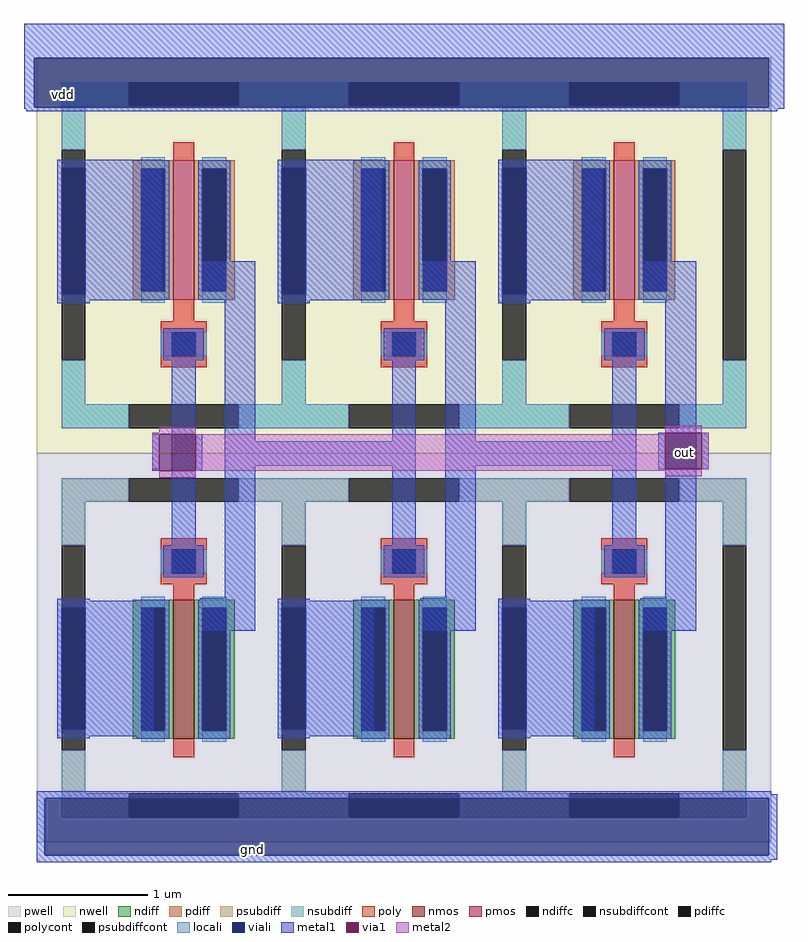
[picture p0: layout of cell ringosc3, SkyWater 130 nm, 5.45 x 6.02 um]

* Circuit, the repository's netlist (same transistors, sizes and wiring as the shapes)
** sch_path: /home/afgar/ringoscilator/ringosc3.sch
.subckt ringosc3 vdd out gnd
*.PININFO vdd:B gnd:B out:O
x4 vdd out net2 gnd prainverter
x1 vdd net2 net1 gnd prainverter
x2 vdd net1 out gnd prainverter
.ends

* expanding   symbol:  /home/afgar/prainverter.sym # of pins=4
** sym_path: /home/afgar/prainverter.sym
** sch_path: /home/afgar/prainverter.sch
.subckt prainverter vdd in out gnd
*.PININFO in:I vdd:I gnd:I out:O
XM1 out in gnd gnd sky130_fd_pr__nfet_01v8 L=0.15 W=1 nf=1 m=1
XM2 out in vdd vdd sky130_fd_pr__pfet_01v8 L=0.15 W=1 nf=1 m=1
.ends

.end

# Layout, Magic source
magic
tech sky130A
magscale 1 2
<< viali >>
rect -3 -1158 1050 -1088
rect 12 -2231 1050 -2149
<< metal1 >>
rect -18 -1088 1072 -1038
rect -18 -1158 -3 -1088
rect 1050 -1158 1072 -1088
rect -18 -1160 1072 -1158
rect -15 -1164 1062 -1160
rect 166 -1679 176 -1627
rect 228 -1679 238 -1627
rect 314 -1672 510 -1637
rect 630 -1672 826 -1637
rect 892 -1677 902 -1625
rect 954 -1677 964 -1625
rect 0 -2143 1054 -2139
rect 0 -2149 1062 -2143
rect 0 -2231 12 -2149
rect 1050 -2231 1062 -2149
rect 0 -2237 1062 -2231
rect 0 -2241 1054 -2237
<< via1 >>
rect 176 -1679 228 -1627
rect 902 -1677 954 -1625
<< metal2 >>
rect 176 -1625 228 -1617
rect 166 -1627 228 -1625
rect 902 -1625 954 -1615
rect 166 -1677 176 -1627
rect 228 -1677 902 -1627
rect 954 -1677 964 -1625
rect 228 -1679 954 -1677
rect 176 -1689 228 -1679
rect 902 -1687 954 -1679
use inverterspice  x1
transform 1 0 -1146 0 1 -2585
box 1146 373 1568 1499
use inverterspice  x2
transform 1 0 -830 0 1 -2585
box 1146 373 1568 1499
use inverterspice  x3
transform 1 0 -514 0 1 -2585
box 1146 373 1568 1499
<< labels >>
flabel viali 39 -1139 39 -1139 0 FreeSans 320 0 0 0 vdd
port 0 nsew
flabel viali 309 -2222 309 -2222 0 FreeSans 320 0 0 0 gnd
port 1 nsew
flabel via1 930 -1653 930 -1653 0 FreeSans 320 0 0 0 out
port 2 nsew
<< end >>

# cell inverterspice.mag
magic
tech sky130A
magscale 1 2
<< viali >>
rect 1182 1158 1216 1340
rect 1182 534 1216 710
<< metal1 >>
rect 1176 1340 1326 1352
rect 1176 1158 1182 1340
rect 1216 1158 1326 1340
rect 1176 1150 1326 1158
rect 1378 1153 1460 1206
rect 1176 1146 1222 1150
rect 1340 760 1374 1108
rect 1416 723 1460 1153
rect 1176 719 1222 722
rect 1176 710 1314 719
rect 1176 534 1182 710
rect 1216 534 1314 710
rect 1380 676 1460 723
rect 1176 525 1314 534
rect 1176 522 1222 525
use sky130_fd_pr__pfet_01v8_LGS3BL  XM1
transform 1 0 1357 0 1 1215
box -211 -284 211 284
use sky130_fd_pr__nfet_01v8_64Z3AY  XM2
transform 1 0 1357 0 1 652
box -211 -279 211 279
<< labels >>
flabel metal1 1250 1246 1250 1246 0 FreeSans 160 0 0 0 VVDD
port 1 nsew
flabel metal1 1240 616 1240 616 0 FreeSans 160 0 0 0 Vgnd
port 2 nsew
flabel metal1 1358 912 1358 912 0 FreeSans 160 0 0 0 IN
port 3 nsew
flabel metal1 1430 942 1430 942 0 FreeSans 160 0 0 0 OUT
port 4 nsew
<< end >>

# cell sky130_fd_pr__pfet_01v8_LGS3BL: kit device sky130_fd_pr__pfet_01v8, w 1.0 l 0.15 m 1 nf 1 diffcov 100 polycov 100 guard 1 glc 1 grc 1 gtc 1 gbc 1 tbcov 100 rlcov 100 topc 0 botc 1 poverlap 0 doverlap 1 lmin 0.15 wmin 0.42 compatible {sky130_fd_pr__pfet_01v8 sky130_fd_pr__pfet_01v8_lvt sky130_fd_pr__pfet_01v8_hvt sky130_fd_pr__pfet_g5v0d10v5} full_metal 1 viasrc 100 viadrn 100 viagate 100 viagb 0 viagr 0 viagl 0 viagt 0

# cell sky130_fd_pr__nfet_01v8_64Z3AY: kit device sky130_fd_pr__nfet_01v8, w 1.0 l 0.15 m 1 nf 1 diffcov 100 polycov 100 guard 1 glc 1 grc 1 gtc 1 gbc 1 tbcov 100 rlcov 100 topc 1 botc 0 poverlap 0 doverlap 1 lmin 0.15 wmin 0.42 compatible {sky130_fd_pr__nfet_01v8 sky130_fd_pr__nfet_01v8_lvt sky130_fd_bs_flash__special_sonosfet_star sky130_fd_pr__nfet_g5v0d10v5 sky130_fd_pr__nfet_05v0_nvt sky130_fd_pr__nfet_03v3_nvt} full_metal 1 viasrc 100 viadrn 100 viagate 100 viagb 0 viagr 0 viagl 0 viagt 0
